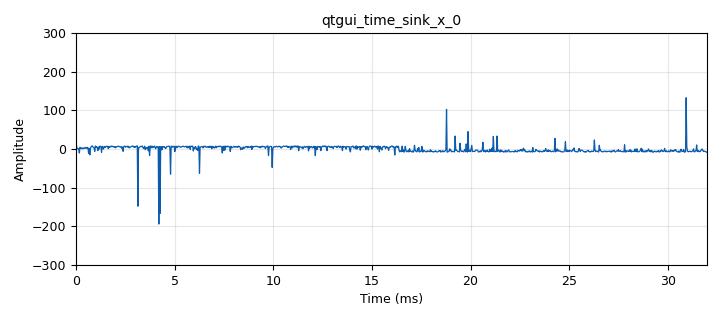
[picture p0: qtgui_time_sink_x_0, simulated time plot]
options:
  parameters:
    generate_options: qt_gui
    id: alpha_stable_generator
    output_language: python
    title: Not titled yet
  states: {}

blocks:
- name: samp_rate
  id: variable
  parameters:
    value: '32000'
  states: {}
- name: analog_random_source_x_0
  id: analog_random_source_x
  parameters:
    max: '255'
    min: '0'
    num_samps: '1000'
    repeat: 'True'
    type: byte
  states: {}
- name: blocks_throttle2_0
  id: blocks_throttle2
  parameters:
    samples_per_second: samp_rate
    type: float
  states: {}
- name: epy_block_0
  id: epy_block
  parameters:
    _source_code: |-
      """
      Embedded Python Blocks:

      Each time this file is saved, GRC will instantiate the first class it finds
      to get ports and parameters of your block. The arguments to __init__  will
      be the parameters. All of them are required to have default values!
      """

      import numpy as np
      from gnuradio import gr


      class alpha_encoder(gr.sync_block):
          """Alpha_stable_generator"""

          

          #argumenti
          def __init__(self, alpha_map=[1.2, 1.4, 1.6, 1.8], beta_map=[-1.0, -0.3, 0.3, 1.0], gama_map=[0.5, 1.0, 1.5, 2.0], samples_per_symbol=500, encode_alpha=True, encode_beta=True, encode_gama=False):  # only default arguments here
              """arguments to this function show up as parameters in GRC"""
              gr.sync_block.__init__(
                  self,
                  name='alpha_encoder', # will show up in GRC
                  in_sig=[np.uint8], #vrsta podatka ka gre in
                  out_sig=[np.float32] #vrsta podatka ka gre out
              )
              # if an attribute with the same name as a parameter is found,
              # a callback is registered (properties work, too).
              self.alpha_map = alpha_map
              self.beta_map = beta_map
              self.gama_map = gama_map
              self.encode_alpha = encode_alpha
              self.encode_beta = encode_beta
              self.encode_gama = encode_gama
              self.samples_per_symbol = samples_per_symbol
              self.bit_buffer = []
              

          #Chambers-Mallows-Stuck Method (stran 8), alpha naj ni = 1 za 1 mogoce pole
          def alpha_stable(self, size, alpha, beta, gama=1.0): #size=number_of_samples generated, scale je gama (igraj se s temi tremi ce ti rata lahk encodas en byte kar ze ni tko slabo)
              V = np.random.uniform(-np.pi/2, np.pi/2, size)
              W = np.random.exponential(1, size)

              B = np.arctan(beta * np.tan(np.pi * alpha / 2)) / alpha
              S = (1 + (beta**2) * (np.tan(np.pi * alpha / 2)**2))**(1/(2*alpha))

              X = S * (np.sin(alpha * (V + B)) / (np.cos(V))**(1/alpha)) * ((np.cos(V - alpha * (V + B)) / W)**((1-alpha)/alpha))

              return gama * X

          def work(self, input_items, output_items):
              data = input_items[0]
              out = output_items[0]

              idx = 0
              def is_power_of_two(x):
                  #flika vse bitke bo tocn 0
                  return (x & (x - 1)) == 0
              if self.encode_alpha and not is_power_of_two(len(self.alpha_map)):
                  raise ValueError("alpha_map size must be power of 2")

              if self.encode_beta and not is_power_of_two(len(self.beta_map)):
                  raise ValueError("beta_map size must be power of 2")

              if self.encode_gama and not is_power_of_two(len(self.gama_map)):
                  raise ValueError("gama_map size must be power of 2")
              
              bits_alpha = int(np.log2(len(self.alpha_map))) if self.encode_alpha else 0
              bits_beta  = int(np.log2(len(self.beta_map))) if self.encode_beta else 0
              bits_gama  = int(np.log2(len(self.gama_map))) if self.encode_gama else 0

              #to rabimo da vemo koliko bitov lahko z enim signalom predstavimo
              bits_per_symbol = bits_alpha + bits_beta + bits_gama

              #bit buffer ka rabim delat z streemom
              
              for byte in data:
                  for i in range(8):
                      self.bit_buffer.append((byte >> i) & 1)

              #provimo byte predstavit
              while len(self.bit_buffer) >= bits_per_symbol:
                  
                  offset = 0

                  # defaults če ni mape mogoce pole za popravit
                  alpha = 1.1
                  beta = 0.0
                  gama = 1.0

                  def read_bits(n, offset):
                      val = 0
                      for i in range(n):
                          val |= (self.bit_buffer[offset + i] << i)
                      return val
                  

                  # --- ALPHA ---
                  if self.encode_alpha:
                      #koliko bitov je v alphi
                      alpha_bits = read_bits(bits_alpha, offset)
                      alpha = self.alpha_map[alpha_bits]
                      offset += bits_alpha

                  # --- BETA ---
                  if self.encode_beta:
                      beta_bits = read_bits(bits_beta, offset)
                      beta = self.beta_map[beta_bits]
                      offset += bits_beta

                  # --- GAMA ---
                  if self.encode_gama:
                      gama_bits = read_bits(bits_gama, offset)
                      gama = self.gama_map[gama_bits]
                      offset += bits_gama

                  self.bit_buffer = self.bit_buffer[bits_per_symbol:]

                  samples = self.alpha_stable(
                      self.samples_per_symbol,
                      alpha,
                      beta,
                      gama
                  )

                  if idx + self.samples_per_symbol > len(out):
                      break

                  out[idx:idx+self.samples_per_symbol] = samples
                  idx += self.samples_per_symbol

              return idx
    alpha_map: '[1.2, 1.4, 1.6, 1.8]'
    beta_map: '[-1.0, -0.3, 0.3, 1.0]'
    encode_alpha: 'False'
    encode_beta: 'True'
    encode_gama: 'False'
    gama_map: '[0.5, 1.0, 1.5, 2.0]'
    samples_per_symbol: '500'
  states: {}
- name: qtgui_time_sink_x_0
  id: qtgui_time_sink_x
  parameters:
    entags: 'False'
    size: '1024'
    srate: samp_rate
    type: float
    ymax: '300'
    ymin: '-300'
  states: {}

connections:
- [analog_random_source_x_0, '0', epy_block_0, '0']
- [blocks_throttle2_0, '0', qtgui_time_sink_x_0, '0']
- [epy_block_0, '0', blocks_throttle2_0, '0']

metadata:
  file_format: 1
  grc_version: 3.10.12.0
